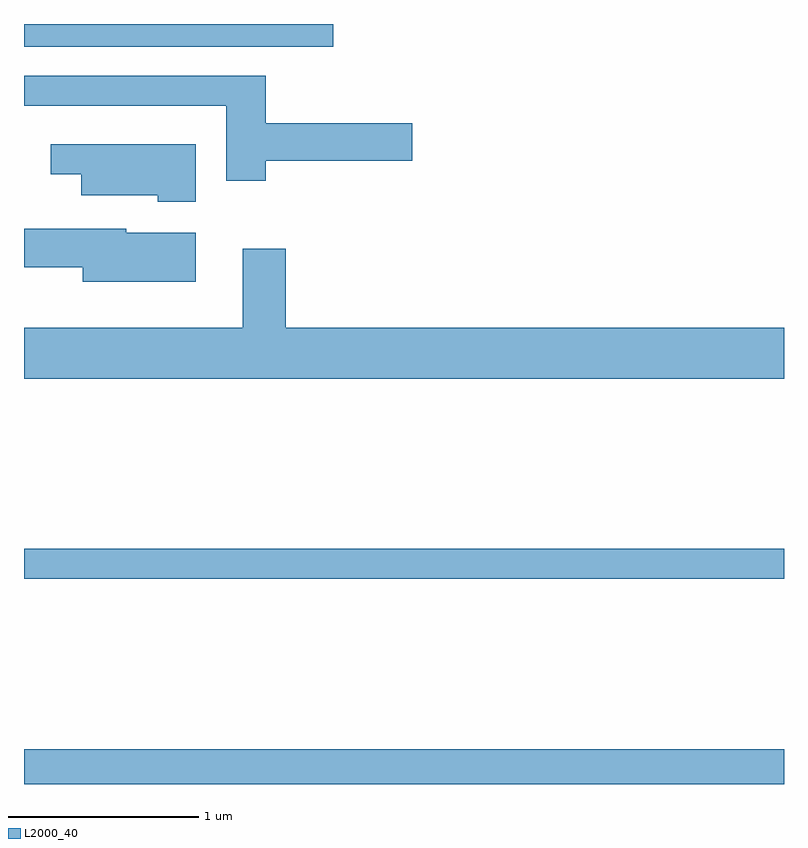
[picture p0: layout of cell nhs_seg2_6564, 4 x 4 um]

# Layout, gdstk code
import gdstk
lib = gdstk.Library(unit=1e-6, precision=1e-09)
def R(c, l, rs):  # rectangles x0, y0, x1, y1
    for r in rs: c.add(gdstk.rectangle(r[:2], r[2:], *l))
def P(c, l, *ps):  # polygons
    for p in ps: c.add(gdstk.Polygon(p, *l))
L2000_40 = (2000, 40)

nhs_seg2_6564 = lib.new_cell('nhs_seg2_6564')
R(nhs_seg2_6564, L2000_40, [(379.611,981.802,383.611,981.984), (379.611,982.881,383.611,983.039), (379.611,985.681,381.238,985.802)])
P(nhs_seg2_6564, L2000_40, [(380.884,985.081),(381.654,985.081),(381.654,985.279),(380.884,985.279),(380.884,985.529),(379.611,985.529),(379.611,985.371),(380.676,985.371),(380.676,984.976),(380.884,984.976)],
  [(380.514,985.169),(379.753,985.169),(379.753,985.011),(379.911,985.011),(379.911,984.901),(380.316,984.901),(380.316,984.866),(380.514,984.866)],
  [(380.514,984.704),(380.149,984.704),(380.149,984.724),(379.611,984.724),(379.611,984.521),(379.921,984.521),(379.921,984.446),(380.514,984.446)],
  [(383.611,984.204),(380.989,984.204),(380.989,984.619),(380.761,984.619),(380.761,984.204),(379.611,984.204),(379.611,983.936),(383.611,983.936)])

lib.write_gds('nhs_seg2_6564.gds')
